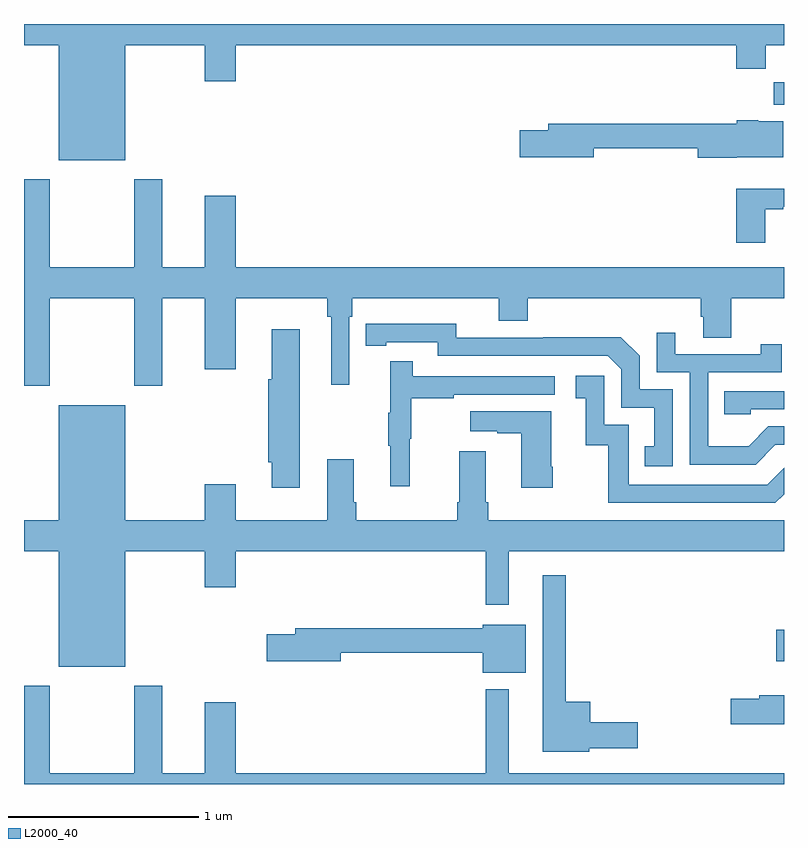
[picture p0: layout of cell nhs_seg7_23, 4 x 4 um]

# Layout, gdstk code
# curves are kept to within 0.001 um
import gdstk
lib = gdstk.Library(unit=1e-6, precision=1e-09)
def R(c, l, rs):  # rectangles x0, y0, x1, y1
    for r in rs: c.add(gdstk.rectangle(r[:2], r[2:], *l))
def P(c, l, *ps):  # polygons
    for p in ps: c.add(gdstk.Polygon(p, *l))
L2000_40 = (2000, 40)

nhs_seg7_23 = lib.new_cell('nhs_seg7_23')
R(nhs_seg7_23, L2000_40, [(114.96,1058.645,115,1058.811), (114.946,1061.576,115,1061.694)])
P(nhs_seg7_23, L2000_40, [(111.532,1061.888),(111.95,1061.888),(111.95,1061.7),(112.114,1061.7),(112.114,1061.888),(114.749,1061.888),(114.749,1061.764),(114.905,1061.764),(114.905,1061.888),(115,1061.888),(115,1062),(111,1062),(111,1061.888),(111.182,1061.888),(111.182,1061.282),(111.532,1061.282)],
  [(114.75,1061.3),(114.997,1061.3),(114.997,1061.488),(114.864,1061.488),(114.864,1061.494),(114.75,1061.494),(114.75,1061.476),(113.759,1061.476),(113.759,1061.442),(113.61,1061.442),(113.61,1061.3),(113.998,1061.3),(113.998,1061.347),(114.545,1061.347),(114.545,1061.297),(114.75,1061.297)],
  [(111.135,1060.556),(111.58,1060.556),(111.58,1060.095),(111.727,1060.095),(111.727,1060.556),(111.95,1060.556),(111.95,1060.182),(112.114,1060.182),(112.114,1060.556),(112.597,1060.556),(112.597,1060.46),(112.616,1060.46),(112.616,1060.101),(112.713,1060.101),(112.713,1060.46),(112.727,1060.46),(112.727,1060.556),(113.498,1060.556),(113.498,1060.439),(113.651,1060.439),(113.651,1060.556),(114.563,1060.556),(114.563,1060.458),(114.575,1060.458),(114.575,1060.348),(114.723,1060.348),(114.723,1060.556),(115,1060.556),(115,1060.72),(112.114,1060.72),(112.114,1061.095),(111.95,1061.095),(111.95,1060.72),(111.727,1060.72),(111.727,1061.182),(111.58,1061.182),(111.58,1060.72),(111.135,1060.72),(111.135,1061.182),(111,1061.182),(111,1060.095),(111.135,1060.095)],
  [(114.901,1061.025),(114.997,1061.025),(114.997,1061.037),(115,1061.037),(115,1061.134),(114.749,1061.134),(114.749,1060.848),(114.901,1060.848)],
  [(114.414,1060.077),(114.24,1060.077),(114.24,1060.254),(114.142,1060.352),(113.734,1060.352),(113.734,1060.35),(113.274,1060.35),(113.274,1060.423),(112.798,1060.422),(112.798,1060.306),(112.906,1060.306),(112.906,1060.326),(113.178,1060.326),(113.178,1060.254),(114.072,1060.254),(114.144,1060.182),(114.144,1059.981),(114.317,1059.981),(114.317,1059.777),(114.268,1059.777),(114.268,1059.672),(114.414,1059.672)],
  [(112.45,1060.393),(112.304,1060.393),(112.304,1060.129),(112.286,1060.129),(112.286,1059.693),(112.304,1059.693),(112.304,1059.558),(112.45,1059.558)],
  [(114.955,1059.786),(115,1059.786),(115,1059.882),(114.918,1059.882),(114.814,1059.778),(114.6,1059.778),(114.6,1060.167),(114.989,1060.167),(114.989,1060.315),(114.878,1060.315),(114.878,1060.263),(114.427,1060.263),(114.427,1060.375),(114.33,1060.375),(114.33,1060.167),(114.504,1060.167),(114.504,1059.681),(114.85,1059.681)],
  [(113.03,1059.816),(113.038,1059.816),(113.038,1060.03),(113.261,1060.03),(113.261,1060.05),(113.794,1060.05),(113.794,1060.146),(113.045,1060.146),(113.045,1060.225),(112.928,1060.225),(112.928,1059.953),(112.917,1059.953),(112.917,1059.779),(112.928,1059.779),(112.928,1059.567),(113.03,1059.567)],
  [(115,1059.526),(115,1059.664),(114.912,1059.576),(114.183,1059.576),(114.183,1059.891),(114.054,1059.891),(114.054,1060.15),(113.904,1060.15),(113.904,1060.029),(113.957,1060.029),(113.957,1059.783),(114.075,1059.783),(114.075,1059.48),(114.954,1059.48)],
  [(114.825,1059.972),(115,1059.972),(115,1060.068),(114.685,1060.068),(114.685,1059.945),(114.825,1059.945)],
  [(111.532,1059.224),(111.95,1059.224),(111.95,1059.036),(112.114,1059.036),(112.114,1059.224),(113.43,1059.224),(113.43,1058.943),(113.551,1058.943),(113.551,1059.224),(115,1059.224),(115,1059.388),(113.444,1059.388),(113.444,1059.484),(113.431,1059.484),(113.431,1059.751),(113.291,1059.751),(113.291,1059.484),(113.279,1059.484),(113.279,1059.388),(112.748,1059.388),(112.748,1059.484),(112.735,1059.484),(112.735,1059.709),(112.595,1059.709),(112.595,1059.388),(112.114,1059.388),(112.114,1059.577),(111.95,1059.577),(111.95,1059.388),(111.532,1059.388),(111.532,1059.994),(111.182,1059.994),(111.182,1059.388),(111,1059.388),(111,1059.224),(111.182,1059.224),(111.182,1058.618),(111.532,1058.618)],
  [(113.784,1059.67),(113.776,1059.67),(113.776,1059.961),(113.349,1059.961),(113.349,1059.857),(113.492,1059.857),(113.492,1059.847),(113.618,1059.847),(113.618,1059.558),(113.784,1059.558)],
  [(113.976,1058.189),(114.229,1058.189),(114.229,1058.324),(113.98,1058.324),(113.98,1058.434),(113.851,1058.434),(113.851,1059.1),(113.729,1059.1),(113.729,1058.171),(113.976,1058.171)],
  [(113.641,1058.839),(113.414,1058.839),(113.414,1058.821),(112.427,1058.821),(112.427,1058.787),(112.278,1058.787),(112.278,1058.645),(112.666,1058.645),(112.666,1058.692),(113.414,1058.692),(113.414,1058.585),(113.641,1058.585)],
  [(115,1058.056),(113.551,1058.056),(113.551,1058.5),(113.43,1058.5),(113.43,1058.056),(112.114,1058.056),(112.114,1058.431),(111.95,1058.431),(111.95,1058.056),(111.727,1058.056),(111.727,1058.518),(111.58,1058.518),(111.58,1058.056),(111.135,1058.056),(111.135,1058.518),(111,1058.518),(111,1058),(115,1058)],
  [(115,1058.467),(114.869,1058.467),(114.869,1058.45),(114.72,1058.45),(114.72,1058.315),(115,1058.315)])

lib.write_gds('nhs_seg7_23.gds')
